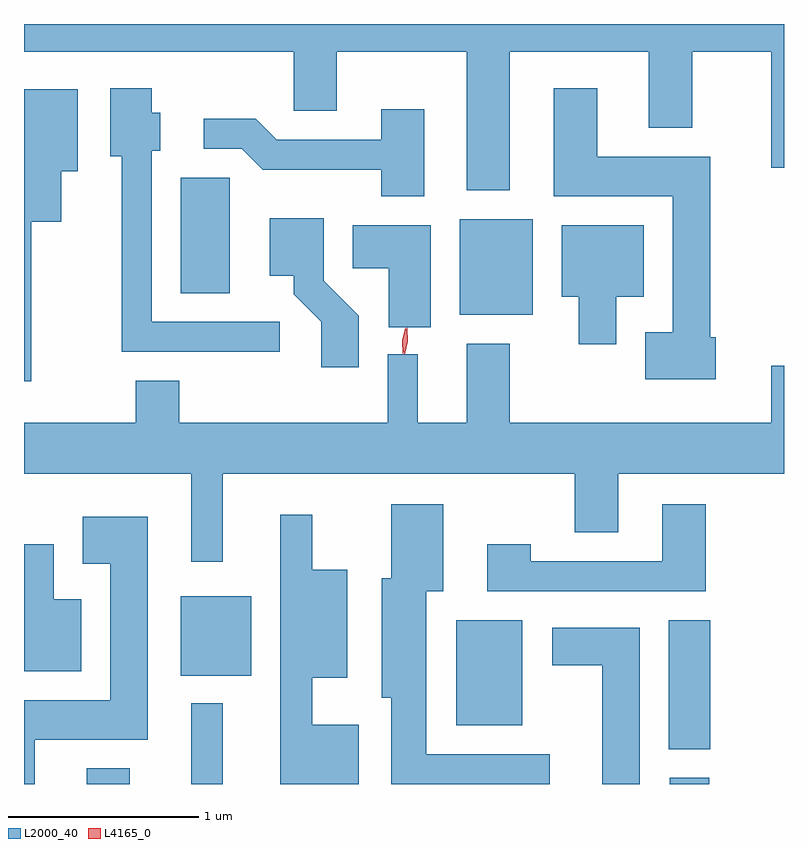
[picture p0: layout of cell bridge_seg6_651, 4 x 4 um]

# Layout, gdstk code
import gdstk
lib = gdstk.Library(unit=1e-6, precision=1e-09)
def R(c, l, rs):  # rectangles x0, y0, x1, y1
    for r in rs: c.add(gdstk.rectangle(r[:2], r[2:], *l))
def P(c, l, *ps):  # polygons
    for p in ps: c.add(gdstk.Polygon(p, *l))
L2000_40 = (2000, 40)
L4165_0 = (4165, 0)

bridge_seg6_651 = lib.new_cell('bridge_seg6_651')
R(bridge_seg6_651, L2000_40, [(211.471,1634.982,211.699,1635.064), (212.021,1634.982,212.189,1635.408), (214.541,1634.982,214.749,1635.014), (214.536,1635.166,214.754,1635.844), (213.416,1635.291,213.764,1635.844), (211.966,1635.551,212.339,1635.969), (213.436,1637.451,213.819,1637.954), (211.966,1637.566,212.224,1638.174)])
P(bridge_seg6_651, L2000_40, [(213.699,1638.836),(214.431,1638.836),(214.431,1638.436),(214.659,1638.436),(214.659,1638.836),(215.076,1638.836),(215.076,1638.226),(215.142,1638.226),(215.142,1638.982),(211.142,1638.982),(211.142,1638.836),(212.561,1638.836),(212.561,1638.526),(212.789,1638.526),(212.789,1638.836),(213.471,1638.836),(213.471,1638.106),(213.699,1638.106)],
  [(214.784,1637.334),(214.754,1637.334),(214.754,1638.284),(214.159,1638.284),(214.159,1638.644),(213.931,1638.644),(213.931,1638.076),(214.556,1638.076),(214.556,1637.359),(214.411,1637.359),(214.411,1637.111),(214.784,1637.111)],
  [(212.488,1637.414),(211.814,1637.414),(211.814,1638.316),(211.859,1638.316),(211.859,1638.514),(211.814,1638.514),(211.814,1638.644),(211.596,1638.644),(211.596,1638.286),(211.656,1638.286),(211.656,1637.256),(212.488,1637.256)],
  [(211.179,1637.941),(211.339,1637.941),(211.339,1638.206),(211.424,1638.206),(211.424,1638.639),(211.142,1638.639),(211.142,1637.103),(211.179,1637.103)],
  [(213.249,1638.534),(213.021,1638.534),(213.021,1638.374),(212.472,1638.374),(212.362,1638.484),(212.088,1638.484),(212.088,1638.326),(212.289,1638.326),(212.399,1638.216),(213.021,1638.216),(213.021,1638.076),(213.249,1638.076)],
  [(212.904,1637.447),(212.719,1637.632),(212.719,1637.959),(212.436,1637.959),(212.436,1637.656),(212.561,1637.656),(212.561,1637.559),(212.706,1637.414),(212.706,1637.176),(212.904,1637.176)],
  [(214.259,1637.546),(214.404,1637.546),(214.404,1637.924),(213.971,1637.924),(213.971,1637.546),(214.061,1637.546),(214.061,1637.296),(214.259,1637.296)],
  [(213.284,1637.924),(212.871,1637.924),(212.871,1637.696),(213.061,1637.696),(213.061,1637.386),(213.284,1637.386)],
  [(212.189,1636.616),(214.041,1636.616),(214.041,1636.306),(214.269,1636.306),(214.269,1636.616),(215.142,1636.616),(215.142,1637.184),(215.076,1637.184),(215.076,1636.884),(213.699,1636.884),(213.699,1637.299),(213.471,1637.299),(213.471,1636.884),(213.214,1636.884),(213.214,1637.243),(213.056,1637.243),(213.056,1636.884),(211.959,1636.884),(211.959,1637.104),(211.731,1637.104),(211.731,1636.884),(211.142,1636.884),(211.142,1636.616),(212.021,1636.616),(212.021,1636.153),(212.189,1636.153)],
  [(214.729,1636.454),(214.501,1636.454),(214.501,1636.154),(213.809,1636.154),(213.809,1636.244),(213.581,1636.244),(213.581,1635.996),(214.729,1635.996)],
  [(213.908,1635.139),(213.259,1635.139),(213.259,1635.996),(213.349,1635.996),(213.349,1636.454),(213.076,1636.454),(213.076,1636.064),(213.026,1636.064),(213.026,1635.436),(213.076,1635.436),(213.076,1634.982),(213.908,1634.982)],
  [(212.904,1635.294),(212.659,1635.294),(212.659,1635.541),(212.844,1635.541),(212.844,1636.109),(212.659,1636.109),(212.659,1636.398),(212.491,1636.398),(212.491,1634.982),(212.904,1634.982)],
  [(211.199,1635.216),(211.794,1635.216),(211.794,1636.389),(211.451,1636.389),(211.451,1636.141),(211.596,1636.141),(211.596,1635.424),(211.142,1635.424),(211.142,1634.982),(211.199,1634.982)],
  [(211.444,1635.954),(211.299,1635.954),(211.299,1636.244),(211.142,1636.244),(211.142,1635.576),(211.444,1635.576)],
  [(214.384,1635.804),(213.921,1635.804),(213.921,1635.606),(214.186,1635.606),(214.186,1634.982),(214.384,1634.982)])
P(bridge_seg6_651, L4165_0, [(213.144,1637.245),(213.144,1637.245),(213.141,1637.315),(213.157,1637.382),(213.158,1637.383),(213.158,1637.382),(213.161,1637.313),(213.145,1637.245)],
  [(213.136,1637.249),(213.133,1637.316),(213.149,1637.38),(213.15,1637.381),(213.15,1637.38),(213.153,1637.314),(213.137,1637.249),(213.137,1637.249)])

lib.write_gds('bridge_seg6_651.gds')
